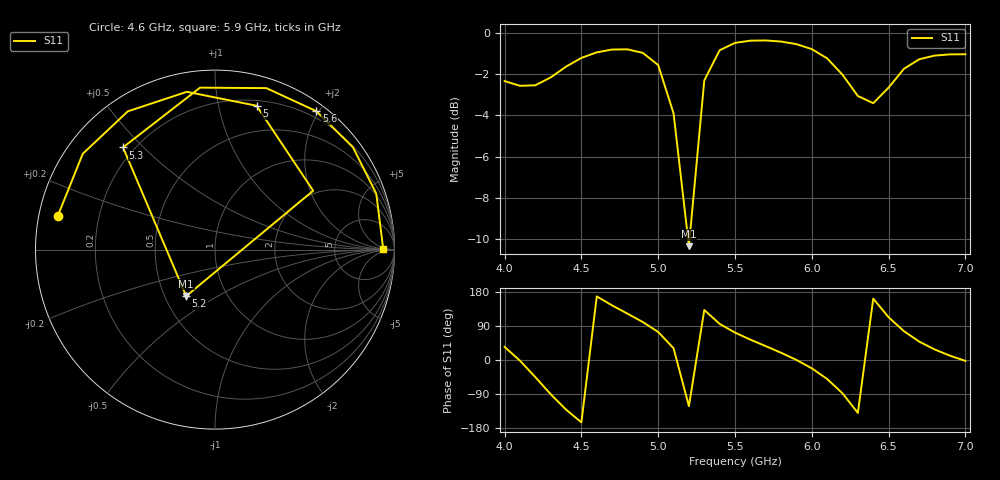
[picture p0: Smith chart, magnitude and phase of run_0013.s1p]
! Touchstone file exported from HFSS 2024.2.0
!  File:  C:/Users/wsak9/Desktop/Sim Fast/Widenad Patch/WP_AI_V1_sweep.aedt
!  Generated:  03:17:33 PM Oct 13, 2026
!  Design:  A1_model
!  Project:  WP_AI_V1_sweep
!  Setup:  Setup1
!  Solution:  Sweep
! Variables:
!  Air_gap = 4.69mm
!  Curve_Amp1 = 3.21
!  Curve_len1 = 1
!  Curve_pos = 11.615mm
!  Extra = 6.52mm
!  H_sub = 0.79mm
!  L_Patch = 19.23mm
!  L_Patch1 = 22.76mm
!  Sx = 0.22mm
!  Sy = 1.83mm
!  WS = 0.71mm
!  W_Patch = 14.62mm
!  W_Patch1 = 16.24mm
!Data is not renormalized
# GHz S MA
! Terminal data exported
! Port[1] = 1
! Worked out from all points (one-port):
!   31 points, 4 GHz to 7 GHz, reference per port
!   lowest |S11| = -10.3 dB at 5.2 GHz (marker M1), VSWR 1.88
!   |S11| at or under -10 dB: 5.19497 GHz to 5.204031 GHz (9.061 MHz wide, 0.174 % of centre)
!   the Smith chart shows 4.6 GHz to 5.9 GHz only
!   S11 on the Smith chart (normalised r, x): 4.6 GHz: 0.06, +0.11; 5 GHz: 0.25, +1.30; 5.2 GHz: 0.64, -0.37; 5.3 GHz: 0.16, +0.44; 5.6 GHz: 0.11, +1.97; 5.9 GHz: 31, +1
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4  0.7632 34.5
4.1  0.7435 -1.9
4.2  0.7457 -45.2
4.3  0.7791 -90.4
4.4  0.8272 -131.0
4.5  0.8684 -164.5
4.6  0.8957 167.8
4.8  0.9108 122.2
4.9  0.893 100.1
5  0.8343 73.9
5.1  0.6379 30.9
5.2  0.3047 -121.8
5.3  0.7661 132.0
5.4  0.9061 95.3
5.5  0.9441 72.3
5.6  0.9557 53.8
5.8  0.9511 19.1
5.9  0.9374 0.2
6  0.9119 -22.0
6.1  0.8661 -50.1
6.2  0.7907 -88.1
6.3  0.7025 -139.6
6.4  0.675 161.9
6.5  0.7362 112.8
6.6  0.8174 76.0
6.7  0.8621 48.5
6.8  0.8796 27.7
7  0.8861 -2.4
